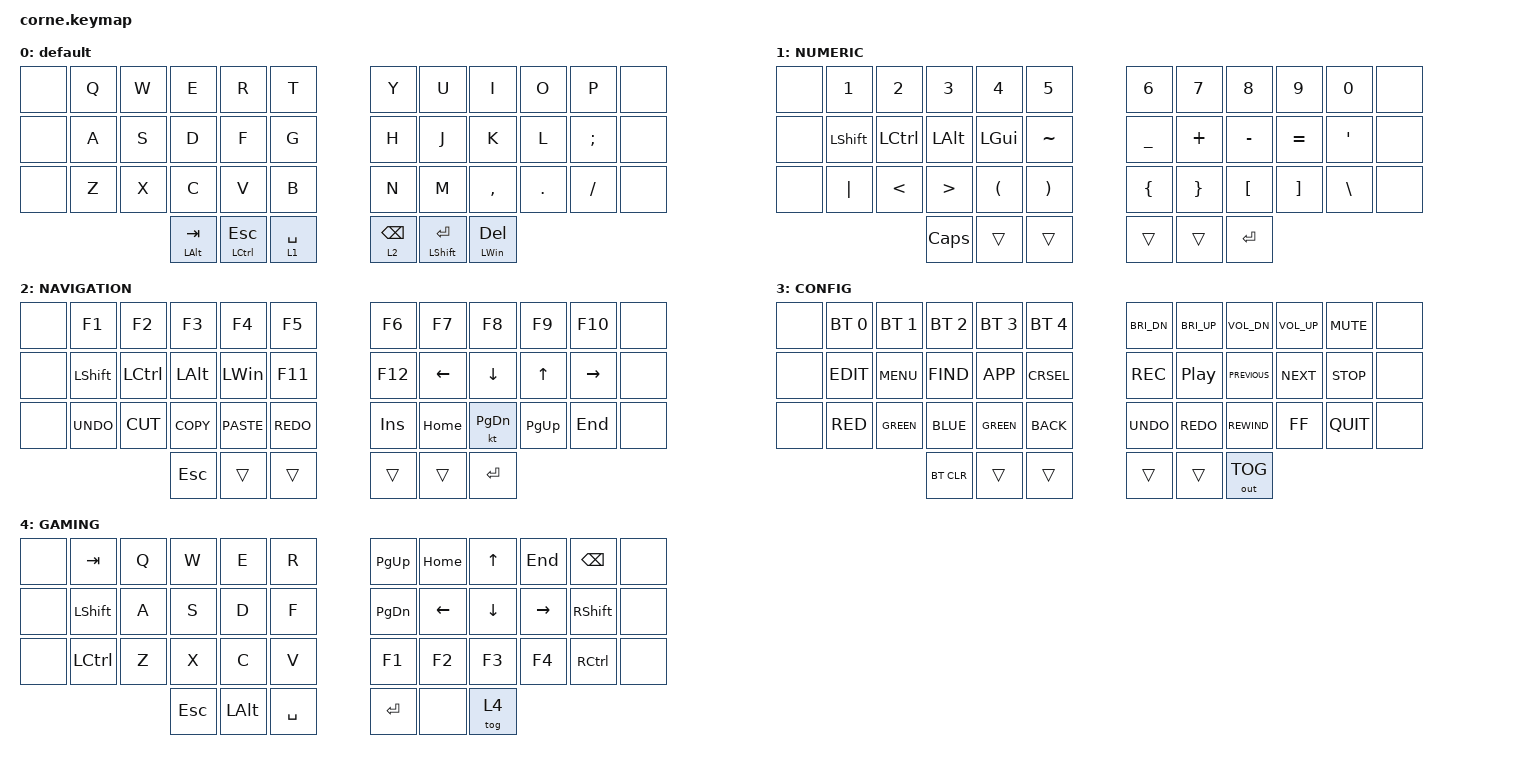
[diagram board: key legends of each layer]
/*
 * Copyright (c) 2020 The ZMK Contributors
 *
 * SPDX-License-Identifier: MIT
 */

#include <behaviors.dtsi>
#include <dt-bindings/zmk/keys.h>
#include <dt-bindings/zmk/keys.h>
#include <dt-bindings/zmk/bt.h>
#include <dt-bindings/zmk/outputs.h>

/ {
    conditional_layers {
        compatible = "zmk,conditional-layers";

        tri_layer {
            if-layers = <1 2>;
            then-layer = <3>;
        };
    };
};

/ {
    combos {
        compatible = "zmk,combos";
    };

    behaviors {
        bhm: balanced_homerow_mods {
            compatible = "zmk,behavior-hold-tap";
            label = "HOMEROW_MODS";
            #binding-cells = <2>;
            tapping-term-ms = <200>;// <---[[moderate duration]]
            quick-tap-ms = <0>;
            flavor = "balanced";
            bindings =
                <&kp>,
                <&kp>;
        };
    };

    keymap {
        compatible = "zmk,keymap";

        default {
            // -----------------------------------------------------------------------------------------
            // |  TAB |  Q  |  W  |  E  |  R  |  T  |   |  Y  |  U   |  I  |  O  |  P  | BKSP |
            // | CTRL |  A  |  S  |  D  |  F  |  G  |   |  H  |  J   |  K  |  L  |  ;  |  '   |
            // | SHFT |  Z  |  X  |  C  |  V  |  B  |   |  N  |  M   |  ,  |  .  |  /  | ESC  |
            //                    | GUI | LWR | SPC |   | ENT | RSE  | ALT |

            bindings = <
&none  &kp Q  &kp W         &kp E          &kp R        &kp T            &kp Y           &kp U         &kp I    &kp O     &kp P  &none
&none  &kp A  &kp S         &kp D          &kp F        &kp G            &kp H           &kp J         &kp K    &kp L  &kp SEMI  &none
&none  &kp Z  &kp X         &kp C          &kp V        &kp B            &kp N           &kp M     &kp COMMA  &kp DOT  &kp FSLH  &none
                     &mt LALT TAB  &mt LCTRL ESC  &lt 1 SPACE  &lt 2 BACKSPACE  &mt LSHIFT RET  &mt LWIN DEL
            >;
        };

        NUMERIC {
            bindings = <
&none    &kp NUMBER_1   &kp NUMBER_2            &kp N3                &kp N4                 &kp N5          &kp N6           &kp N7            &kp N8             &kp N9            &kp N0  &none
&none  &kp LEFT_SHIFT      &kp LCTRL      &kp LEFT_ALT          &kp LEFT_GUI              &kp TILDE       &kp UNDER         &kp PLUS         &kp MINUS          &kp EQUAL  &kp SINGLE_QUOTE  &none
&none        &kp PIPE  &kp LESS_THAN  &kp GREATER_THAN  &kp LEFT_PARENTHESIS  &kp RIGHT_PARENTHESIS  &kp LEFT_BRACE  &kp RIGHT_BRACE  &kp LEFT_BRACKET  &kp RIGHT_BRACKET     &kp BACKSLASH  &none
                                              &kp CAPS                &trans                 &trans          &trans           &trans           &kp RET
            >;
        };

        NAVIGATION {
            bindings = <
&none      &kp F1     &kp F2      &kp F3       &kp F4      &kp F5   &kp F6    &kp F7         &kp F8     &kp F9    &kp F10  &none
&none   &kp LSHFT  &kp LCTRL    &kp LALT     &kp LWIN     &kp F11  &kp F12  &kp LEFT       &kp DOWN     &kp UP  &kp RIGHT  &none
&none  &kp K_UNDO  &kp K_CUT  &kp K_COPY  &kp K_PASTE  &kp K_REDO  &kp INS  &kp HOME  &kt PAGE_DOWN  &kp PG_UP    &kp END  &none
                                 &kp ESC       &trans      &trans   &trans    &trans        &kp RET
            >;
        };

        CONFIG {
            bindings = <
&none  &bt BT_SEL 0  &bt BT_SEL 1  &bt BT_SEL 2  &bt BT_SEL 3  &bt BT_SEL 4  &kp C_BRI_DN  &kp C_BRI_UP    &kp C_VOL_DN  &kp C_VOL_UP  &kp C_MUTE  &none
&none    &kp K_EDIT    &kp K_MENU    &kp K_FIND     &kp K_APP     &kp CRSEL     &kp C_REC      &kp C_PP  &kp C_PREVIOUS    &kp C_NEXT  &kp C_STOP  &none
&none     &kp C_RED   &kp C_GREEN    &kp C_BLUE   &kp C_GREEN    &kp K_BACK    &kp K_UNDO    &kp K_REDO    &kp C_REWIND      &kp C_FF  &kp C_QUIT  &none
                                     &bt BT_CLR        &trans        &trans        &trans        &trans    &out OUT_TOG
            >;
        };

        GAMING {
            bindings = <
&none         &kp TAB  &kp Q    &kp W         &kp E      &kp R  &kp PG_UP  &kp HOME  &kp UP_ARROW    &kp END  &kp BACKSPACE  &none
&none  &kp LEFT_SHIFT  &kp A    &kp S         &kp D      &kp F  &kp PG_DN  &kp LEFT      &kp DOWN  &kp RIGHT      &kp RSHFT  &none
&none       &kp LCTRL  &kp Z    &kp X         &kp C      &kp V     &kp F1    &kp F2        &kp F3     &kp F4      &kp RCTRL  &none
                              &kp ESC  &kp LEFT_ALT  &kp SPACE  &kp ENTER     &none        &tog 4
            >;
        };
    };
};
